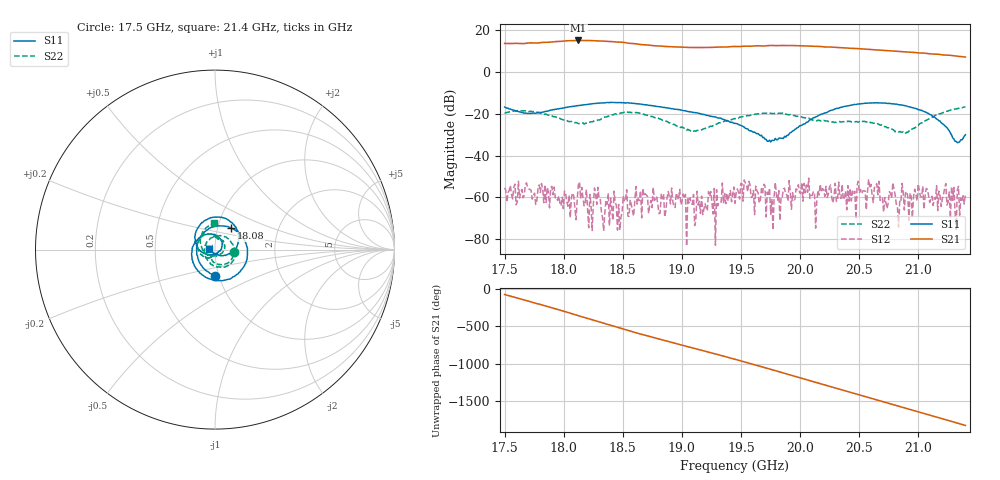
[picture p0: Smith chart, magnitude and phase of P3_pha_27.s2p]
!Created with skrf (http://scikit-rf.org).
# GHz S RI R 50.0
!freq ReS11 ImS11 ReS21 ImS21 ReS12 ImS12 ReS22 ImS22
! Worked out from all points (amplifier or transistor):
!   401 points, 17.5 GHz to 21.4 GHz, reference 50 ohm
!   highest |S21| = 15.1 dB at 18.12 GHz (marker M1)
!   |S21| within 3 dB of that: start of sweep to 18.92 GHz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
!   unconditionally stable (mu >= 1): start of sweep to end of sweep
!   at 18.14 GHz: K = 90.88, MAG = 15.2 dB, |S12| = -60.5 dB
!   at 19.45 GHz: K = 167.64, MAG = 12.2 dB, |S12| = -62.8 dB
!   at 21.4 GHz: K = 178.71, MAG = 7.3 dB, |S12| = -58.4 dB
!   S11 on the Smith chart (normalised r, x): 17.5 GHz: 0.96, -0.28; 18.08 GHz: 1.16, +0.28; 21.4 GHz: 0.94, +0.01
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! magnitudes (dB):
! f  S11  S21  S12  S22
! 17.5 GHz  -16.7  13.7  -55.4  -19.5
! 18.08 GHz  -16.5  15.0  -57.8  -23.9
! 18.12 GHz  -16.1  15.1  -54.1  -24.7
! 18.15 GHz  -15.8  15.1  -55.2  -24.5
! 18.22 GHz  -15.3  15.1  -58.5  -24.0
! 18.28 GHz  -15.0  14.9  -63.3  -23.2
! 18.33 GHz  -14.8  14.8  -69.7  -22.2
! 18.42 GHz  -14.6  14.5  -71.0  -20.5
! 18.48 GHz  -14.7  14.3  -75.5  -19.7
! 18.51 GHz  -14.7  14.1  -62.0  -19.3
! 18.81 GHz  -16.6  12.5  -67.7  -22.3
! 18.97 GHz  -18.0  11.9  -61.1  -26.1
! 19.1 GHz  -19.4  11.7  -58.6  -28.3
! 19.45 GHz  -24.5  12.2  -62.8  -22.3
! 19.55 GHz  -27.1  12.3  -53.9  -21.0
! 19.74 GHz  -32.6  12.7  -55.5  -19.5
! 20.1 GHz  -22.4  12.3  -59.0  -23.0
! 20.65 GHz  -14.7  10.6  -53.4  -24.8
! 20.76 GHz  -15.0  10.2  -57.2  -26.7
! 20.83 GHz  -15.6  9.9  -74.1  -28.7
! 21.02 GHz  -18.2  9.1  -59.6  -24.5
! 21.4 GHz  -30.0  7.2  -58.4  -16.6
